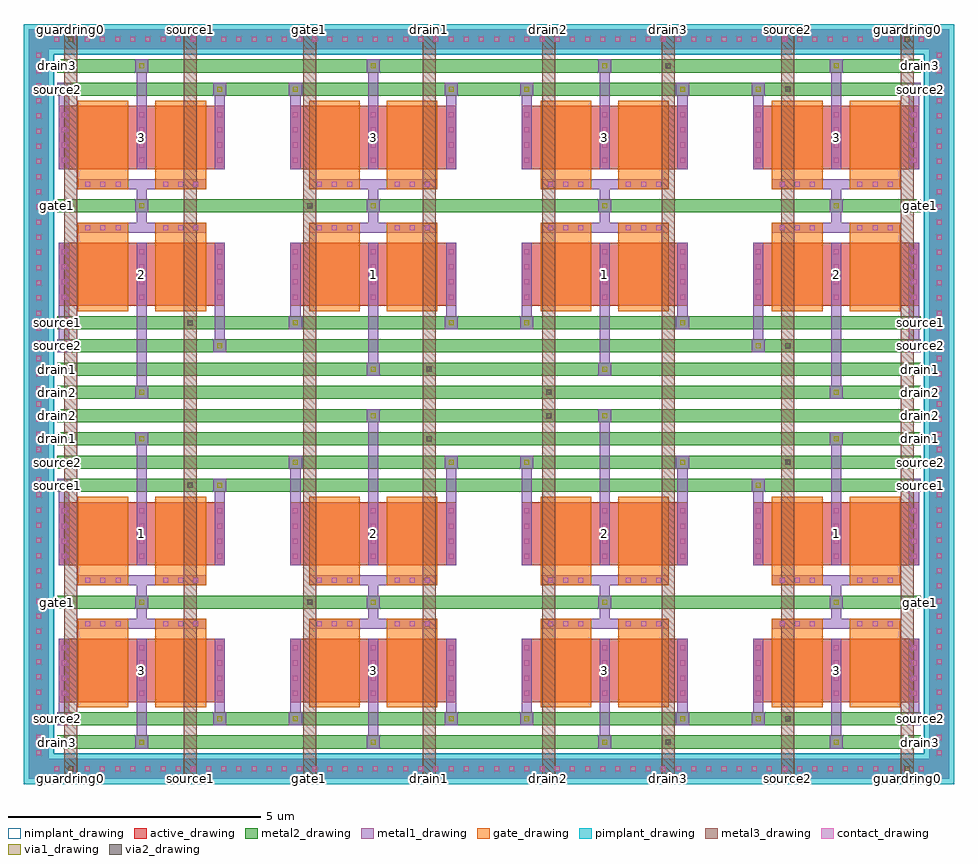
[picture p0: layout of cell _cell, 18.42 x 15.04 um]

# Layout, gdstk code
import gdstk
lib = gdstk.Library(unit=1e-6, precision=1e-09)
def R(c, l, rs):  # rectangles x0, y0, x1, y1
    for r in rs: c.add(gdstk.rectangle(r[:2], r[2:], *l))
def A(c, l, x, y, w, h, nx, ny, dx, dy):  # array of equal rectangles
    R(c, l, [(x+i*dx, y+j*dy, x+i*dx+w, y+j*dy+h) for i in range(nx) for j in range(ny)])
active_drawing = (1, 0)
pimplant_drawing = (4, 0)
nimplant_drawing = (5, 0)
gate_drawing = (6, 0)
contact_drawing = (7, 0)
metal1_drawing = (8, 0)
via1_drawing = (9, 0)
metal2_drawing = (10, 0)
via2_drawing = (11, 0)
metal3_drawing = (12, 0)

c__cell = lib.new_cell('_cell')
A(c__cell, active_drawing, -0.37, 0, 3.28, 1.25, 4, 2, 4.58, 2.71)
A(c__cell, active_drawing, -0.37, 7.84, 3.28, 1.25, 4, 2, 4.58, 2.71)
R(c__cell, active_drawing, [(-0.97,-1.52,17.25,-1.12), (-0.97,-1.52,-0.57,13.32), (16.85,-1.52,17.25,13.32), (-0.97,12.92,17.25,13.32)])
R(c__cell, pimplant_drawing, [(-1.07,-1.62,17.35,-1.02), (-1.07,-1.62,-0.47,13.42), (16.75,-1.62,17.35,13.42), (-1.07,12.82,17.35,13.42)])
R(c__cell, nimplant_drawing, [(-0.47,-1.02,16.75,12.82)])
R(c__cell, gate_drawing, [(0,-0.1,1,1.65), (1.54,-0.1,2.54,1.65), (4.58,-0.1,5.58,1.65), (6.12,-0.1,7.12,1.65), (9.16,-0.1,10.16,1.65), (10.7,-0.1,11.7,1.65), (13.74,-0.1,14.74,1.65), (15.28,-0.1,16.28,1.65), (0,2.31,1,4.06), (1.54,2.31,2.54,4.06), (4.58,2.31,5.58,4.06), (6.12,2.31,7.12,4.06), (9.16,2.31,10.16,4.06), (10.7,2.31,11.7,4.06), (13.74,2.31,14.74,4.06), (15.28,2.31,16.28,4.06), (0,7.74,1,9.49), (1.54,7.74,2.54,9.49), (4.58,7.74,5.58,9.49), (6.12,7.74,7.12,9.49), (9.16,7.74,10.16,9.49), (10.7,7.74,11.7,9.49), (13.74,7.74,14.74,9.49), (15.28,7.74,16.28,9.49), (0,10.15,1,11.9), (1.54,10.15,2.54,11.9), (4.58,10.15,5.58,11.9), (6.12,10.15,7.12,11.9), (9.16,10.15,10.16,11.9), (10.7,10.15,11.7,11.9), (13.74,10.15,14.74,11.9), (15.28,10.15,16.28,11.9)])
A(c__cell, contact_drawing, -0.46, -1.37, 0.1, 0.1, 58, 2, 0.3, 14.44)
A(c__cell, contact_drawing, -0.82, -1.05, 0.1, 0.1, 1, 47, 0, 0.3)
A(c__cell, contact_drawing, 17, -1.05, 0.1, 0.1, 1, 47, 0, 0.3)
A(c__cell, contact_drawing, -0.32, 0.125, 0.1, 0.1, 3, 4, 1.54, 0.3)
A(c__cell, contact_drawing, 4.26, 0.125, 0.1, 0.1, 3, 4, 1.54, 0.3)
A(c__cell, contact_drawing, 8.84, 0.125, 0.1, 0.1, 3, 4, 1.54, 0.3)
A(c__cell, contact_drawing, 13.42, 0.125, 0.1, 0.1, 3, 4, 1.54, 0.3)
A(c__cell, contact_drawing, 0.15, 1.5, 0.1, 0.1, 3, 2, 0.3, 0.86)
A(c__cell, contact_drawing, 1.69, 1.5, 0.1, 0.1, 3, 2, 0.3, 0.86)
A(c__cell, contact_drawing, 4.73, 1.5, 0.1, 0.1, 3, 2, 0.3, 0.86)
A(c__cell, contact_drawing, 6.27, 1.5, 0.1, 0.1, 3, 2, 0.3, 0.86)
A(c__cell, contact_drawing, 9.31, 1.5, 0.1, 0.1, 3, 2, 0.3, 0.86)
A(c__cell, contact_drawing, 10.85, 1.5, 0.1, 0.1, 3, 2, 0.3, 0.86)
A(c__cell, contact_drawing, 13.89, 1.5, 0.1, 0.1, 3, 2, 0.3, 0.86)
A(c__cell, contact_drawing, 15.43, 1.5, 0.1, 0.1, 3, 2, 0.3, 0.86)
A(c__cell, contact_drawing, -0.32, 2.835, 0.1, 0.1, 3, 4, 1.54, 0.3)
A(c__cell, contact_drawing, 4.26, 2.835, 0.1, 0.1, 3, 4, 1.54, 0.3)
A(c__cell, contact_drawing, 8.84, 2.835, 0.1, 0.1, 3, 4, 1.54, 0.3)
A(c__cell, contact_drawing, 13.42, 2.835, 0.1, 0.1, 3, 4, 1.54, 0.3)
A(c__cell, contact_drawing, -0.32, 7.965, 0.1, 0.1, 3, 4, 1.54, 0.3)
A(c__cell, contact_drawing, 4.26, 7.965, 0.1, 0.1, 3, 4, 1.54, 0.3)
A(c__cell, contact_drawing, 8.84, 7.965, 0.1, 0.1, 3, 4, 1.54, 0.3)
A(c__cell, contact_drawing, 13.42, 7.965, 0.1, 0.1, 3, 4, 1.54, 0.3)
A(c__cell, contact_drawing, 0.15, 9.34, 0.1, 0.1, 3, 2, 0.3, 0.86)
A(c__cell, contact_drawing, 1.69, 9.34, 0.1, 0.1, 3, 2, 0.3, 0.86)
A(c__cell, contact_drawing, 4.73, 9.34, 0.1, 0.1, 3, 2, 0.3, 0.86)
A(c__cell, contact_drawing, 6.27, 9.34, 0.1, 0.1, 3, 2, 0.3, 0.86)
A(c__cell, contact_drawing, 9.31, 9.34, 0.1, 0.1, 3, 2, 0.3, 0.86)
A(c__cell, contact_drawing, 10.85, 9.34, 0.1, 0.1, 3, 2, 0.3, 0.86)
A(c__cell, contact_drawing, 13.89, 9.34, 0.1, 0.1, 3, 2, 0.3, 0.86)
A(c__cell, contact_drawing, 15.43, 9.34, 0.1, 0.1, 3, 2, 0.3, 0.86)
A(c__cell, contact_drawing, -0.32, 10.675, 0.1, 0.1, 3, 4, 1.54, 0.3)
A(c__cell, contact_drawing, 4.26, 10.675, 0.1, 0.1, 3, 4, 1.54, 0.3)
A(c__cell, contact_drawing, 8.84, 10.675, 0.1, 0.1, 3, 4, 1.54, 0.3)
A(c__cell, contact_drawing, 13.42, 10.675, 0.1, 0.1, 3, 4, 1.54, 0.3)
A(c__cell, metal1_drawing, 1.14, -0.92, 0.26, 0.26, 4, 2, 4.58, 13.38)
A(c__cell, metal1_drawing, 1.17, -0.92, 0.2, 0.92, 4, 2, 4.58, 12.72)
A(c__cell, metal1_drawing, -0.37, 0, 0.2, 1.25, 3, 2, 1.54, 2.71)
A(c__cell, metal1_drawing, 4.21, 0, 0.2, 1.25, 3, 2, 1.54, 2.71)
A(c__cell, metal1_drawing, 8.79, 0, 0.2, 1.25, 3, 2, 1.54, 2.71)
A(c__cell, metal1_drawing, 13.37, 0, 0.2, 1.25, 3, 2, 1.54, 2.71)
A(c__cell, metal1_drawing, 0, 1.45, 2.54, 0.2, 4, 2, 4.58, 0.86)
A(c__cell, metal1_drawing, 1.14, 1.45, 0.26, 0.2, 4, 2, 4.58, 0.86)
A(c__cell, metal1_drawing, 1.17, 1.65, 0.2, 0.2, 4, 2, 4.58, 0.46)
A(c__cell, metal1_drawing, -0.37, 7.84, 0.2, 1.25, 3, 2, 1.54, 2.71)
A(c__cell, metal1_drawing, 4.21, 7.84, 0.2, 1.25, 3, 2, 1.54, 2.71)
A(c__cell, metal1_drawing, 8.79, 7.84, 0.2, 1.25, 3, 2, 1.54, 2.71)
A(c__cell, metal1_drawing, 13.37, 7.84, 0.2, 1.25, 3, 2, 1.54, 2.71)
A(c__cell, metal1_drawing, 0, 9.29, 2.54, 0.2, 4, 2, 4.58, 0.86)
A(c__cell, metal1_drawing, 1.14, 9.29, 0.26, 0.2, 4, 2, 4.58, 0.86)
A(c__cell, metal1_drawing, 1.17, 9.49, 0.2, 0.2, 4, 2, 4.58, 0.46)
R(c__cell, metal1_drawing, [(-0.97,-1.52,17.25,-1.12), (-0.97,-1.52,-0.57,13.32), (-0.264,-1.52,-0.004,-1.12), (16.284,-1.52,16.544,-1.12), (16.85,-1.52,17.25,13.32), (-0.4,-0.46,-0.14,-0.2), (-0.37,-0.46,-0.17,0), (2.68,-0.46,2.94,-0.2), (2.71,-0.46,2.91,0), (4.18,-0.46,4.44,-0.2), (4.21,-0.46,4.41,0), (7.26,-0.46,7.52,-0.2), (7.29,-0.46,7.49,0), (8.76,-0.46,9.02,-0.2), (8.79,-0.46,8.99,0), (11.84,-0.46,12.1,-0.2), (11.87,-0.46,12.07,0), (13.34,-0.46,13.6,-0.2), (13.37,-0.46,13.57,0), (16.42,-0.46,16.68,-0.2), (16.45,-0.46,16.65,0), (1.14,1.85,1.4,2.11), (1.14,1.85,1.4,2.11), (5.72,1.85,5.98,2.11), (5.72,1.85,5.98,2.11), (10.3,1.85,10.56,2.11), (10.3,1.85,10.56,2.11), (14.88,1.85,15.14,2.11), (14.88,1.85,15.14,2.11), (-0.37,3.96,-0.17,4.42), (1.17,3.96,1.37,5.34), (2.71,3.96,2.91,4.42), (4.21,3.96,4.41,4.88), (5.75,3.96,5.95,5.8), (7.29,3.96,7.49,4.88), (8.79,3.96,8.99,4.88), (10.33,3.96,10.53,5.8), (11.87,3.96,12.07,4.88), (13.37,3.96,13.57,4.42), (14.91,3.96,15.11,5.34), (16.45,3.96,16.65,4.42), (-0.4,4.16,-0.14,4.42), (2.68,4.16,2.94,4.42), (13.34,4.16,13.6,4.42), (16.42,4.16,16.68,4.42), (4.18,4.62,4.44,4.88), (7.26,4.62,7.52,4.88), (8.76,4.62,9.02,4.88), (11.84,4.62,12.1,4.88), (1.14,5.08,1.4,5.34), (14.88,5.08,15.14,5.34), (5.72,5.54,5.98,5.8), (10.3,5.54,10.56,5.8), (1.14,6,1.4,6.26), (1.17,6,1.37,7.84), (14.88,6,15.14,6.26), (14.91,6,15.11,7.84), (5.72,6.46,5.98,6.72), (5.75,6.46,5.95,7.84), (10.3,6.46,10.56,6.72), (10.33,6.46,10.53,7.84), (-0.4,6.92,-0.14,7.18), (-0.37,6.92,-0.17,7.84), (2.68,6.92,2.94,7.18), (2.71,6.92,2.91,7.84), (13.34,6.92,13.6,7.18), (13.37,6.92,13.57,7.84), (16.42,6.92,16.68,7.18), (16.45,6.92,16.65,7.84), (4.18,7.38,4.44,7.64), (4.21,7.38,4.41,7.84), (7.26,7.38,7.52,7.64), (7.29,7.38,7.49,7.84), (8.76,7.38,9.02,7.64), (8.79,7.38,8.99,7.84), (11.84,7.38,12.1,7.64), (11.87,7.38,12.07,7.84), (1.14,9.69,1.4,9.95), (1.14,9.69,1.4,9.95), (5.72,9.69,5.98,9.95), (5.72,9.69,5.98,9.95), (10.3,9.69,10.56,9.95), (10.3,9.69,10.56,9.95), (14.88,9.69,15.14,9.95), (14.88,9.69,15.14,9.95), (-0.37,11.8,-0.17,12.26), (2.71,11.8,2.91,12.26), (4.21,11.8,4.41,12.26), (7.29,11.8,7.49,12.26), (8.79,11.8,8.99,12.26), (11.87,11.8,12.07,12.26), (13.37,11.8,13.57,12.26), (16.45,11.8,16.65,12.26), (-0.4,12,-0.14,12.26), (2.68,12,2.94,12.26), (4.18,12,4.44,12.26), (7.26,12,7.52,12.26), (8.76,12,9.02,12.26), (11.84,12,12.1,12.26), (13.34,12,13.6,12.26), (16.42,12,16.68,12.26), (-0.97,12.92,17.25,13.32), (-0.264,12.92,-0.004,13.32), (16.284,12.92,16.544,13.32)])
A(c__cell, via1_drawing, 1.22, -0.84, 0.1, 0.1, 4, 2, 4.58, 13.38)
R(c__cell, via1_drawing, [(-0.184,-1.37,-0.084,-1.27), (16.364,-1.37,16.464,-1.27), (-0.32,-0.38,-0.22,-0.28), (2.76,-0.38,2.86,-0.28), (4.26,-0.38,4.36,-0.28), (7.34,-0.38,7.44,-0.28), (8.84,-0.38,8.94,-0.28), (11.92,-0.38,12.02,-0.28), (13.42,-0.38,13.52,-0.28), (16.5,-0.38,16.6,-0.28), (1.22,1.93,1.32,2.03), (1.22,1.93,1.32,2.03), (5.8,1.93,5.9,2.03), (5.8,1.93,5.9,2.03), (10.38,1.93,10.48,2.03), (10.38,1.93,10.48,2.03), (14.96,1.93,15.06,2.03), (14.96,1.93,15.06,2.03), (-0.32,4.24,-0.22,4.34), (2.76,4.24,2.86,4.34), (13.42,4.24,13.52,4.34), (16.5,4.24,16.6,4.34), (4.26,4.7,4.36,4.8), (7.34,4.7,7.44,4.8), (8.84,4.7,8.94,4.8), (11.92,4.7,12.02,4.8), (1.22,5.16,1.32,5.26), (14.96,5.16,15.06,5.26), (5.8,5.62,5.9,5.72), (10.38,5.62,10.48,5.72), (1.22,6.08,1.32,6.18), (14.96,6.08,15.06,6.18), (5.8,6.54,5.9,6.64), (10.38,6.54,10.48,6.64), (-0.32,7,-0.22,7.1), (2.76,7,2.86,7.1), (13.42,7,13.52,7.1), (16.5,7,16.6,7.1), (4.26,7.46,4.36,7.56), (7.34,7.46,7.44,7.56), (8.84,7.46,8.94,7.56), (11.92,7.46,12.02,7.56), (1.22,9.77,1.32,9.87), (1.22,9.77,1.32,9.87), (5.8,9.77,5.9,9.87), (5.8,9.77,5.9,9.87), (10.38,9.77,10.48,9.87), (10.38,9.77,10.48,9.87), (14.96,9.77,15.06,9.87), (14.96,9.77,15.06,9.87), (-0.32,12.08,-0.22,12.18), (2.76,12.08,2.86,12.18), (4.26,12.08,4.36,12.18), (7.34,12.08,7.44,12.18), (8.84,12.08,8.94,12.18), (11.92,12.08,12.02,12.18), (13.42,12.08,13.52,12.18), (16.5,12.08,16.6,12.18), (-0.184,13.07,-0.084,13.17), (16.364,13.07,16.464,13.17)])
A(c__cell, metal2_drawing, 1.14, -0.92, 0.26, 0.26, 4, 2, 4.58, 13.38)
A(c__cell, metal2_drawing, -0.4, -0.46, 17.08, 0.26, 1, 3, 0, 2.31)
A(c__cell, metal2_drawing, -0.4, 4.62, 17.08, 0.26, 1, 7, 0, 0.46)
R(c__cell, metal2_drawing, [(-0.264,-1.52,-0.004,-1.12), (16.284,-1.52,16.544,-1.12), (-0.4,-0.92,16.68,-0.66), (-0.4,-0.46,-0.14,-0.2), (2.68,-0.46,2.94,-0.2), (4.18,-0.46,4.44,-0.2), (7.26,-0.46,7.52,-0.2), (8.76,-0.46,9.02,-0.2), (11.84,-0.46,12.1,-0.2), (13.34,-0.46,13.6,-0.2), (16.42,-0.46,16.68,-0.2), (1.14,1.85,1.4,2.11), (1.14,1.85,1.4,2.11), (5.72,1.85,5.98,2.11), (5.72,1.85,5.98,2.11), (10.3,1.85,10.56,2.11), (10.3,1.85,10.56,2.11), (14.88,1.85,15.14,2.11), (14.88,1.85,15.14,2.11), (-0.4,4.16,-0.14,4.42), (2.68,4.16,2.94,4.42), (13.34,4.16,13.6,4.42), (16.42,4.16,16.68,4.42), (4.18,4.62,4.44,4.88), (7.26,4.62,7.52,4.88), (8.76,4.62,9.02,4.88), (11.84,4.62,12.1,4.88), (1.14,5.08,1.4,5.34), (14.88,5.08,15.14,5.34), (5.72,5.54,5.98,5.8), (10.3,5.54,10.56,5.8), (1.14,6,1.4,6.26), (14.88,6,15.14,6.26), (5.72,6.46,5.98,6.72), (10.3,6.46,10.56,6.72), (-0.4,6.92,-0.14,7.18), (2.68,6.92,2.94,7.18), (13.34,6.92,13.6,7.18), (16.42,6.92,16.68,7.18), (4.18,7.38,4.44,7.64), (7.26,7.38,7.52,7.64), (8.76,7.38,9.02,7.64), (11.84,7.38,12.1,7.64), (-0.4,9.69,16.68,9.95), (1.14,9.69,1.4,9.95), (1.14,9.69,1.4,9.95), (5.72,9.69,5.98,9.95), (5.72,9.69,5.98,9.95), (10.3,9.69,10.56,9.95), (10.3,9.69,10.56,9.95), (14.88,9.69,15.14,9.95), (14.88,9.69,15.14,9.95), (-0.4,12,16.68,12.26), (-0.4,12,-0.14,12.26), (2.68,12,2.94,12.26), (4.18,12,4.44,12.26), (7.26,12,7.52,12.26), (8.76,12,9.02,12.26), (11.84,12,12.1,12.26), (13.34,12,13.6,12.26), (16.42,12,16.68,12.26), (-0.4,12.46,16.68,12.72), (-0.264,12.92,-0.004,13.32), (16.284,12.92,16.544,13.32)])
R(c__cell, via2_drawing, [(-0.184,-1.37,-0.084,-1.27), (16.364,-1.37,16.464,-1.27), (11.636,-0.84,11.736,-0.74), (14,-0.38,14.1,-0.28), (4.544,1.93,4.644,2.03), (4.544,1.93,4.644,2.03), (2.18,4.24,2.28,4.34), (14,4.7,14.1,4.8), (6.908,5.16,7.008,5.26), (9.272,5.62,9.372,5.72), (9.272,6.08,9.372,6.18), (6.908,6.54,7.008,6.64), (14,7,14.1,7.1), (2.18,7.46,2.28,7.56), (4.544,9.77,4.644,9.87), (4.544,9.77,4.644,9.87), (14,12.08,14.1,12.18), (11.636,12.54,11.736,12.64), (-0.184,13.07,-0.084,13.17), (16.364,13.07,16.464,13.17)])
A(c__cell, metal3_drawing, -0.264, -1.52, 0.26, 14.84, 8, 1, 2.364, 0)
R(c__cell, metal3_drawing, [(-0.264,-1.52,-0.004,-1.12), (16.284,-1.52,16.544,-1.12), (-0.264,12.92,-0.004,13.32), (16.284,12.92,16.544,13.32)])
c__cell.add(gdstk.Label('3', (1.27,0.625), layer=234, texttype=0))
c__cell.add(gdstk.Label('3', (5.85,0.625), layer=234, texttype=0))
c__cell.add(gdstk.Label('3', (10.43,0.625), layer=234, texttype=0))
c__cell.add(gdstk.Label('3', (15.01,0.625), layer=234, texttype=0))
c__cell.add(gdstk.Label('1', (1.27,3.335), layer=234, texttype=0))
c__cell.add(gdstk.Label('2', (5.85,3.335), layer=234, texttype=0))
c__cell.add(gdstk.Label('2', (10.43,3.335), layer=234, texttype=0))
c__cell.add(gdstk.Label('1', (15.01,3.335), layer=234, texttype=0))
c__cell.add(gdstk.Label('2', (1.27,8.465), layer=234, texttype=0))
c__cell.add(gdstk.Label('1', (5.85,8.465), layer=234, texttype=0))
c__cell.add(gdstk.Label('1', (10.43,8.465), layer=234, texttype=0))
c__cell.add(gdstk.Label('2', (15.01,8.465), layer=234, texttype=0))
c__cell.add(gdstk.Label('3', (1.27,11.175), layer=234, texttype=0))
c__cell.add(gdstk.Label('3', (5.85,11.175), layer=234, texttype=0))
c__cell.add(gdstk.Label('3', (10.43,11.175), layer=234, texttype=0))
c__cell.add(gdstk.Label('3', (15.01,11.175), layer=234, texttype=0))
c__cell.add(gdstk.Label('gate1', (-0.4,1.98), layer=10, texttype=0))
c__cell.add(gdstk.Label('gate1', (16.68,1.98), layer=10, texttype=0))
c__cell.add(gdstk.Label('gate1', (-0.4,9.82), layer=10, texttype=0))
c__cell.add(gdstk.Label('gate1', (16.68,9.82), layer=10, texttype=0))
c__cell.add(gdstk.Label('source2', (-0.4,-0.33), layer=10, texttype=0))
c__cell.add(gdstk.Label('source2', (16.68,-0.33), layer=10, texttype=0))
c__cell.add(gdstk.Label('drain3', (-0.4,-0.79), layer=10, texttype=0))
c__cell.add(gdstk.Label('drain3', (16.68,-0.79), layer=10, texttype=0))
c__cell.add(gdstk.Label('source1', (-0.4,4.29), layer=10, texttype=0))
c__cell.add(gdstk.Label('source1', (16.68,4.29), layer=10, texttype=0))
c__cell.add(gdstk.Label('source2', (-0.4,4.75), layer=10, texttype=0))
c__cell.add(gdstk.Label('source2', (16.68,4.75), layer=10, texttype=0))
c__cell.add(gdstk.Label('drain1', (-0.4,5.21), layer=10, texttype=0))
c__cell.add(gdstk.Label('drain1', (16.68,5.21), layer=10, texttype=0))
c__cell.add(gdstk.Label('drain2', (-0.4,5.67), layer=10, texttype=0))
c__cell.add(gdstk.Label('drain2', (16.68,5.67), layer=10, texttype=0))
c__cell.add(gdstk.Label('source1', (-0.4,7.51), layer=10, texttype=0))
c__cell.add(gdstk.Label('source1', (16.68,7.51), layer=10, texttype=0))
c__cell.add(gdstk.Label('source2', (-0.4,7.05), layer=10, texttype=0))
c__cell.add(gdstk.Label('source2', (16.68,7.05), layer=10, texttype=0))
c__cell.add(gdstk.Label('drain1', (-0.4,6.59), layer=10, texttype=0))
c__cell.add(gdstk.Label('drain1', (16.68,6.59), layer=10, texttype=0))
c__cell.add(gdstk.Label('drain2', (-0.4,6.13), layer=10, texttype=0))
c__cell.add(gdstk.Label('drain2', (16.68,6.13), layer=10, texttype=0))
c__cell.add(gdstk.Label('source2', (-0.4,12.13), layer=10, texttype=0))
c__cell.add(gdstk.Label('source2', (16.68,12.13), layer=10, texttype=0))
c__cell.add(gdstk.Label('drain3', (-0.4,12.59), layer=10, texttype=0))
c__cell.add(gdstk.Label('drain3', (16.68,12.59), layer=10, texttype=0))
c__cell.add(gdstk.Label('guardring0', (-0.134,-1.52), layer=12, texttype=0))
c__cell.add(gdstk.Label('guardring0', (-0.134,13.32), layer=12, texttype=0))
c__cell.add(gdstk.Label('source1', (2.23,-1.52), layer=12, texttype=0))
c__cell.add(gdstk.Label('source1', (2.23,13.32), layer=12, texttype=0))
c__cell.add(gdstk.Label('gate1', (4.594,-1.52), layer=12, texttype=0))
c__cell.add(gdstk.Label('gate1', (4.594,13.32), layer=12, texttype=0))
c__cell.add(gdstk.Label('drain1', (6.958,-1.52), layer=12, texttype=0))
c__cell.add(gdstk.Label('drain1', (6.958,13.32), layer=12, texttype=0))
c__cell.add(gdstk.Label('drain2', (9.322,-1.52), layer=12, texttype=0))
c__cell.add(gdstk.Label('drain2', (9.322,13.32), layer=12, texttype=0))
c__cell.add(gdstk.Label('drain3', (11.686,-1.52), layer=12, texttype=0))
c__cell.add(gdstk.Label('drain3', (11.686,13.32), layer=12, texttype=0))
c__cell.add(gdstk.Label('source2', (14.05,-1.52), layer=12, texttype=0))
c__cell.add(gdstk.Label('source2', (14.05,13.32), layer=12, texttype=0))
c__cell.add(gdstk.Label('guardring0', (16.414,-1.52), layer=12, texttype=0))
c__cell.add(gdstk.Label('guardring0', (16.414,13.32), layer=12, texttype=0))

lib.write_gds('_cell.gds')
